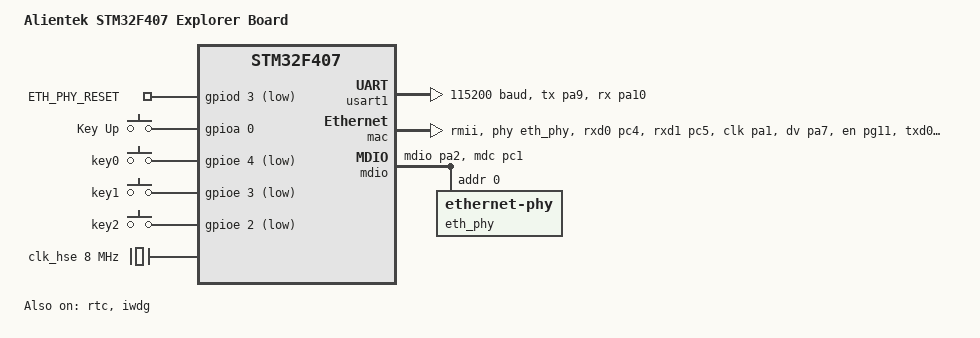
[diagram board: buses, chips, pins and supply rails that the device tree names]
/*
 * Copyright (c) 2017 Linaro Limited
 *
 * SPDX-License-Identifier: Apache-2.0
 */

/dts-v1/;
#include <st/f4/stm32f407Xg.dtsi>
#include <st/f4/stm32f407z(e-g)tx-pinctrl.dtsi>
#include <zephyr/dt-bindings/input/input-event-codes.h>
#include <zephyr/dt-bindings/dma/stm32_dma.h> 

/ {
    model = "Alientek STM32F407 Explorer Board";
    compatible = "alientek,stm32f407-explorer", "st,stm32f407";

    chosen {
        zephyr,console = &usart1;
        zephyr,shell-uart = &usart1;
        zephyr,uart-mcumgr = &usart1; //&cdc_acm_uart0;
        zephyr,sram = &sram0;
        zephyr,flash = &flash0;
        zephyr,ccm = &ccm0;
        zephyr,code-partition = &slot0_partition;
    };

    
    eth_phy_reset: eth-phy-reset {
        compatible = "gpio-leds";
        phy_reset_pin: phy-reset-pin {
            gpios = <&gpiod 3 GPIO_ACTIVE_LOW>;
            label = "ETH_PHY_RESET";
        };
    };
    gpio_keys {
        compatible = "gpio-keys";
        user_button: button {
            label = "Key Up";
            gpios = <&gpioa 0 GPIO_ACTIVE_HIGH>;
            zephyr,code = <INPUT_KEY_UP>;
        };
        key0: button_0 {
            label = "key0";
            gpios = <&gpioe 4 GPIO_ACTIVE_LOW>;
            zephyr,code = <INPUT_KEY_0>;
        };
        key1: button_1 {
            label = "key1";
            gpios = <&gpioe 3 GPIO_ACTIVE_LOW>;
            zephyr,code = <INPUT_KEY_1>;
        };
        key2: button_2 {
            label = "key2";
            gpios = <&gpioe 2 GPIO_ACTIVE_LOW>;
            zephyr,code = <INPUT_KEY_2>;
        };
    };


    aliases {

        sw0 = &user_button;
        sw1 = &key0;
        sw2 = &key1;
        sw3 = &key2;
        watchdog0 = &iwdg;
        //uart1 = &usart2;
    };
};

&dma1 {
    status = "okay";
};

&usart1 {
    pinctrl-0 = <&usart1_tx_pa9 &usart1_rx_pa10>;
    pinctrl-names = "default";
    current-speed = <115200>;
    status = "okay";

};


&clk_lsi {
    status = "okay";
};

&clk_hse {
    clock-frequency = <DT_FREQ_M(8)>;
    status = "okay";
};

&pll {
    div-m = <8>;
    mul-n = <336>;
    div-p = <2>;
    div-q = <7>;
    clocks = <&clk_hse>;
    status = "okay";
};

&rcc {
    clocks = <&pll>;
    clock-frequency = <DT_FREQ_M(168)>;
    ahb-prescaler = <1>;
    apb1-prescaler = <4>;
    apb2-prescaler = <2>;
};


&rtc {
    clocks = <&rcc STM32_CLOCK_BUS_APB1 0x10000000>,
         <&rcc STM32_SRC_LSI RTC_SEL(2)>;
    status = "okay";

    backup_regs {
        status = "okay";
    };
};


&mac {
    status = "okay";
    zephyr,deferred-init;   //禁止自动初始化，延迟到应用程序中手动调用eth_phy_reset()函数进行初始化
    pinctrl-0 = <&eth_rxd0_pc4 &eth_rxd1_pc5 
                 &eth_ref_clk_pa1 &eth_crs_dv_pa7 
                 &eth_tx_en_pg11 &eth_txd0_pg13 
                 &eth_txd1_pg14>;
    pinctrl-names = "default";

    phy-connection-type = "rmii";
    phy-handle = <&eth_phy>;
};     
&mdio {
    status = "okay";
    zephyr,deferred-init;   //禁止自动初始化，延迟到应用程序中手动调用eth_phy_reset()函数进行初始化
    pinctrl-0 = <&eth_mdio_pa2 &eth_mdc_pc1>;
    pinctrl-names = "default";

    eth_phy: ethernet-phy@0 {
        compatible = "ethernet-phy";
        reg = <0>;  
        zephyr,deferred-init;
        // reset-gpios = <&gpiod 3 GPIO_ACTIVE_LOW>;
        //reset-assert-duration-us = <120000>;
        //reset-deassertion-timeout-ms = <50>;
    };
};   
&iwdg {
    status = "okay";
};

/*
 * Flash secctor 0 - 3: sector size = 16K
 * Flash secctor 4 : sector size = 64K
 * Flash secctor 5 - 11: sector size = 128K
 */
&flash0 {
    partitions {
        compatible = "fixed-partitions";
        #address-cells = <1>;
        #size-cells = <1>;

        boot_partition: partition@0 {
            label = "mcuboot";
            reg = <0x00000000 DT_SIZE_K(128)>;
            read-only;
        };

        slot0_partition: partition@20000 {
            label = "image-0";
            reg = <0x00020000 DT_SIZE_K(384)>;  /* 0x20000 到 0x7FFFF */
        };

        slot1_partition: partition@80000 {
            label = "image-1";
            reg = <0x00080000 DT_SIZE_K(384)>;  /* 0x80000 到 0xDFFFF */
        };

        storage_partition: partition@e0000 {
            label = "storage";
            reg = <0x000E0000 DT_SIZE_K(128)>;
        };
    };
};
